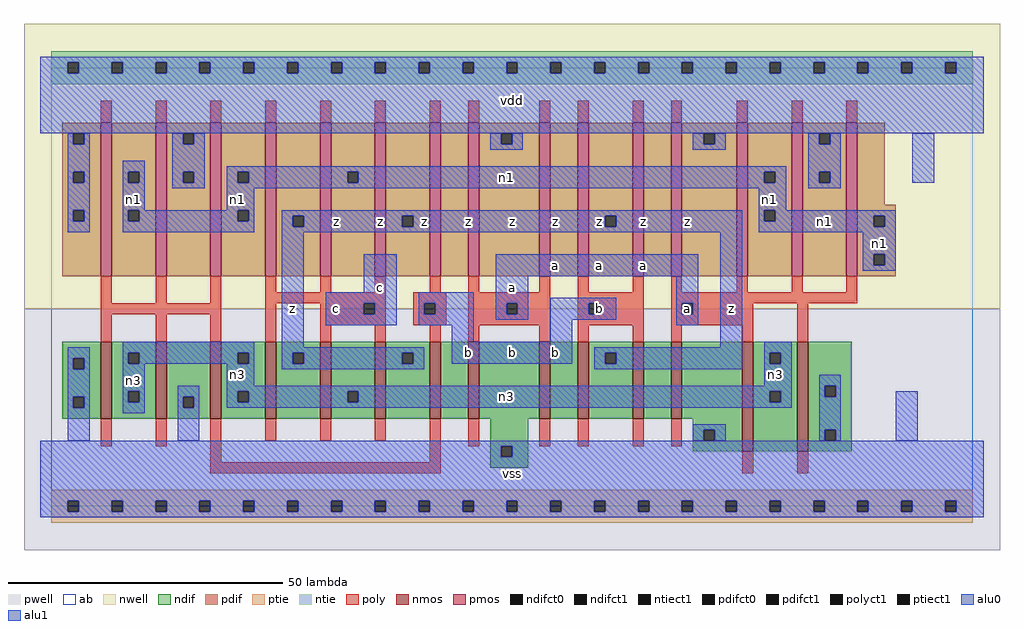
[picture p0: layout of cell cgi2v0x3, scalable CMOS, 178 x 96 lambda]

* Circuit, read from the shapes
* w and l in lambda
.subckt cgi2v0x3 a b c n1 n3 vdd vss z
M1 n3 b vss vss nfet w=14 l=2 m=3
M2 z c n3 vss nfet w=14 l=2 m=3
M3 n2 b z vss nfet w=14 l=2
M4 vss a n2 vss nfet w=14 l=2
M5 n4 a vss vss nfet w=14 l=2
M6 z b n4 vss nfet w=14 l=2
M7 n5 b z vss nfet w=14 l=2
M8 vss a n5 vss nfet w=14 l=2
M9 n3 a vss vss nfet w=20 l=2 m=2
M10 n1 b vdd vdd pfet w=28 l=2 m=3
M11 z c n1 vdd pfet w=28 l=2 m=3
M12 n6 b z vdd pfet w=28 l=2
M13 vdd a n6 vdd pfet w=28 l=2
M14 n7 a vdd vdd pfet w=28 l=2
M15 z b n7 vdd pfet w=28 l=2
M16 n8 b z vdd pfet w=28 l=2
M17 vdd a n8 vdd pfet w=28 l=2
M18 n1 a vdd vdd pfet w=28 l=2 m=3
.ends

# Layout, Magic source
magic
tech scmos
<< ab >>
rect 0 0 168 80
<< nwell >>
rect -5 36 173 88
<< pwell >>
rect -5 -8 173 36
<< poly >>
rect 9 70 11 74
rect 19 70 21 74
rect 29 70 31 74
rect 39 70 41 74
rect 49 70 51 74
rect 59 70 61 74
rect 69 70 71 74
rect 76 70 78 74
rect 89 70 91 74
rect 96 70 98 74
rect 106 70 108 74
rect 113 70 115 74
rect 125 70 127 74
rect 135 70 137 74
rect 145 70 147 74
rect 9 37 11 42
rect 19 37 21 42
rect 29 37 31 42
rect 9 35 31 37
rect 9 30 11 35
rect 19 30 21 35
rect 29 30 31 35
rect 39 39 41 42
rect 49 39 51 42
rect 59 39 61 42
rect 69 39 71 42
rect 76 39 78 42
rect 89 39 91 42
rect 39 37 61 39
rect 39 30 41 37
rect 49 35 57 37
rect 59 35 61 37
rect 49 33 61 35
rect 66 37 72 39
rect 66 35 68 37
rect 70 35 72 37
rect 66 33 72 35
rect 76 37 91 39
rect 76 35 83 37
rect 85 35 91 37
rect 76 33 91 35
rect 49 30 51 33
rect 59 30 61 33
rect 69 30 71 33
rect 76 30 78 33
rect 89 30 91 33
rect 96 39 98 42
rect 106 39 108 42
rect 96 37 108 39
rect 96 35 98 37
rect 100 35 108 37
rect 96 33 108 35
rect 96 30 98 33
rect 106 30 108 33
rect 113 39 115 42
rect 125 39 127 42
rect 135 39 137 42
rect 145 39 147 42
rect 113 37 147 39
rect 113 35 115 37
rect 117 35 128 37
rect 113 33 128 35
rect 113 30 115 33
rect 126 30 128 33
rect 136 30 138 37
rect 9 11 11 16
rect 19 11 21 16
rect 29 8 31 16
rect 39 12 41 16
rect 49 12 51 16
rect 59 12 61 16
rect 69 8 71 16
rect 76 11 78 16
rect 89 11 91 16
rect 96 11 98 16
rect 106 11 108 16
rect 113 11 115 16
rect 29 6 71 8
rect 126 6 128 10
rect 136 6 138 10
<< ndif >>
rect 2 27 9 30
rect 2 25 4 27
rect 6 25 9 27
rect 2 20 9 25
rect 2 18 4 20
rect 6 18 9 20
rect 2 16 9 18
rect 11 28 19 30
rect 11 26 14 28
rect 16 26 19 28
rect 11 21 19 26
rect 11 19 14 21
rect 16 19 19 21
rect 11 16 19 19
rect 21 20 29 30
rect 21 18 24 20
rect 26 18 29 20
rect 21 16 29 18
rect 31 28 39 30
rect 31 26 34 28
rect 36 26 39 28
rect 31 21 39 26
rect 31 19 34 21
rect 36 19 39 21
rect 31 16 39 19
rect 41 28 49 30
rect 41 26 44 28
rect 46 26 49 28
rect 41 16 49 26
rect 51 21 59 30
rect 51 19 54 21
rect 56 19 59 21
rect 51 16 59 19
rect 61 28 69 30
rect 61 26 64 28
rect 66 26 69 28
rect 61 16 69 26
rect 71 16 76 30
rect 78 16 89 30
rect 91 16 96 30
rect 98 28 106 30
rect 98 26 101 28
rect 103 26 106 28
rect 98 16 106 26
rect 108 16 113 30
rect 115 16 126 30
rect 80 11 87 16
rect 117 14 126 16
rect 117 12 119 14
rect 121 12 126 14
rect 80 9 82 11
rect 84 9 87 11
rect 117 10 126 12
rect 128 28 136 30
rect 128 26 131 28
rect 133 26 136 28
rect 128 21 136 26
rect 128 19 131 21
rect 133 19 136 21
rect 128 10 136 19
rect 138 22 146 30
rect 138 20 141 22
rect 143 20 146 22
rect 138 14 146 20
rect 138 12 141 14
rect 143 12 146 14
rect 138 10 146 12
rect 80 7 87 9
<< pdif >>
rect 2 68 9 70
rect 2 66 4 68
rect 6 66 9 68
rect 2 61 9 66
rect 2 59 4 61
rect 6 59 9 61
rect 2 54 9 59
rect 2 52 4 54
rect 6 52 9 54
rect 2 42 9 52
rect 11 61 19 70
rect 11 59 14 61
rect 16 59 19 61
rect 11 54 19 59
rect 11 52 14 54
rect 16 52 19 54
rect 11 42 19 52
rect 21 68 29 70
rect 21 66 24 68
rect 26 66 29 68
rect 21 61 29 66
rect 21 59 24 61
rect 26 59 29 61
rect 21 42 29 59
rect 31 61 39 70
rect 31 59 34 61
rect 36 59 39 61
rect 31 54 39 59
rect 31 52 34 54
rect 36 52 39 54
rect 31 42 39 52
rect 41 53 49 70
rect 41 51 44 53
rect 46 51 49 53
rect 41 42 49 51
rect 51 61 59 70
rect 51 59 54 61
rect 56 59 59 61
rect 51 42 59 59
rect 61 53 69 70
rect 61 51 64 53
rect 66 51 69 53
rect 61 42 69 51
rect 71 42 76 70
rect 78 68 89 70
rect 78 66 82 68
rect 84 66 89 68
rect 78 42 89 66
rect 91 42 96 70
rect 98 53 106 70
rect 98 51 101 53
rect 103 51 106 53
rect 98 42 106 51
rect 108 42 113 70
rect 115 68 125 70
rect 115 66 119 68
rect 121 66 125 68
rect 115 42 125 66
rect 127 61 135 70
rect 127 59 130 61
rect 132 59 135 61
rect 127 54 135 59
rect 127 52 130 54
rect 132 52 135 54
rect 127 42 135 52
rect 137 68 145 70
rect 137 66 140 68
rect 142 66 145 68
rect 137 61 145 66
rect 137 59 140 61
rect 142 59 145 61
rect 137 42 145 59
rect 147 55 152 70
rect 147 53 154 55
rect 147 51 150 53
rect 152 51 154 53
rect 147 46 154 51
rect 147 44 150 46
rect 152 44 154 46
rect 147 42 154 44
<< alu1 >>
rect -2 81 170 82
rect -2 79 3 81
rect 5 79 11 81
rect 13 79 19 81
rect 21 79 27 81
rect 29 79 35 81
rect 37 79 43 81
rect 45 79 51 81
rect 53 79 59 81
rect 61 79 67 81
rect 69 79 75 81
rect 77 79 83 81
rect 85 79 91 81
rect 93 79 99 81
rect 101 79 107 81
rect 109 79 115 81
rect 117 79 123 81
rect 125 79 131 81
rect 133 79 139 81
rect 141 79 147 81
rect 149 79 155 81
rect 157 79 163 81
rect 165 79 170 81
rect -2 68 170 79
rect 42 53 126 54
rect 42 51 44 53
rect 46 51 64 53
rect 66 51 101 53
rect 103 51 126 53
rect 42 50 126 51
rect 42 29 46 50
rect 57 39 63 46
rect 81 42 118 46
rect 50 37 63 39
rect 50 35 57 37
rect 59 35 63 37
rect 50 33 63 35
rect 67 37 77 39
rect 67 35 68 37
rect 70 35 77 37
rect 67 33 77 35
rect 81 37 87 42
rect 81 35 83 37
rect 85 35 87 37
rect 81 34 87 35
rect 91 37 103 38
rect 91 35 98 37
rect 100 35 103 37
rect 91 34 103 35
rect 114 37 118 42
rect 114 35 115 37
rect 117 35 118 37
rect 73 30 77 33
rect 91 30 95 34
rect 114 33 118 35
rect 42 28 68 29
rect 42 26 44 28
rect 46 26 64 28
rect 66 26 68 28
rect 73 26 95 30
rect 122 29 126 50
rect 99 28 126 29
rect 99 26 101 28
rect 103 26 126 28
rect 42 25 68 26
rect 99 25 126 26
rect -2 11 170 12
rect -2 9 82 11
rect 84 9 170 11
rect -2 1 170 9
rect -2 -1 3 1
rect 5 -1 11 1
rect 13 -1 19 1
rect 21 -1 27 1
rect 29 -1 35 1
rect 37 -1 43 1
rect 45 -1 51 1
rect 53 -1 59 1
rect 61 -1 67 1
rect 69 -1 75 1
rect 77 -1 83 1
rect 85 -1 91 1
rect 93 -1 99 1
rect 101 -1 107 1
rect 109 -1 115 1
rect 117 -1 123 1
rect 125 -1 131 1
rect 133 -1 139 1
rect 141 -1 147 1
rect 149 -1 155 1
rect 157 -1 163 1
rect 165 -1 170 1
rect -2 -2 170 -1
<< ptie >>
rect 0 1 168 3
rect 0 -1 3 1
rect 5 -1 11 1
rect 13 -1 19 1
rect 21 -1 27 1
rect 29 -1 35 1
rect 37 -1 43 1
rect 45 -1 51 1
rect 53 -1 59 1
rect 61 -1 67 1
rect 69 -1 75 1
rect 77 -1 83 1
rect 85 -1 91 1
rect 93 -1 99 1
rect 101 -1 107 1
rect 109 -1 115 1
rect 117 -1 123 1
rect 125 -1 131 1
rect 133 -1 139 1
rect 141 -1 147 1
rect 149 -1 155 1
rect 157 -1 163 1
rect 165 -1 168 1
rect 0 -3 168 -1
<< ntie >>
rect 0 81 168 83
rect 0 79 3 81
rect 5 79 11 81
rect 13 79 19 81
rect 21 79 27 81
rect 29 79 35 81
rect 37 79 43 81
rect 45 79 51 81
rect 53 79 59 81
rect 61 79 67 81
rect 69 79 75 81
rect 77 79 83 81
rect 85 79 91 81
rect 93 79 99 81
rect 101 79 107 81
rect 109 79 115 81
rect 117 79 123 81
rect 125 79 131 81
rect 133 79 139 81
rect 141 79 147 81
rect 149 79 155 81
rect 157 79 163 81
rect 165 79 168 81
rect 0 77 168 79
<< nmos >>
rect 9 16 11 30
rect 19 16 21 30
rect 29 16 31 30
rect 39 16 41 30
rect 49 16 51 30
rect 59 16 61 30
rect 69 16 71 30
rect 76 16 78 30
rect 89 16 91 30
rect 96 16 98 30
rect 106 16 108 30
rect 113 16 115 30
rect 126 10 128 30
rect 136 10 138 30
<< pmos >>
rect 9 42 11 70
rect 19 42 21 70
rect 29 42 31 70
rect 39 42 41 70
rect 49 42 51 70
rect 59 42 61 70
rect 69 42 71 70
rect 76 42 78 70
rect 89 42 91 70
rect 96 42 98 70
rect 106 42 108 70
rect 113 42 115 70
rect 125 42 127 70
rect 135 42 137 70
rect 145 42 147 70
<< polyct1 >>
rect 57 35 59 37
rect 68 35 70 37
rect 83 35 85 37
rect 98 35 100 37
rect 115 35 117 37
<< ndifct0 >>
rect 4 25 6 27
rect 4 18 6 20
rect 14 26 16 28
rect 14 19 16 21
rect 24 18 26 20
rect 34 26 36 28
rect 34 19 36 21
rect 54 19 56 21
rect 119 12 121 14
rect 131 26 133 28
rect 131 19 133 21
rect 141 20 143 22
rect 141 12 143 14
<< ndifct1 >>
rect 44 26 46 28
rect 64 26 66 28
rect 101 26 103 28
rect 82 9 84 11
<< ntiect1 >>
rect 3 79 5 81
rect 11 79 13 81
rect 19 79 21 81
rect 27 79 29 81
rect 35 79 37 81
rect 43 79 45 81
rect 51 79 53 81
rect 59 79 61 81
rect 67 79 69 81
rect 75 79 77 81
rect 83 79 85 81
rect 91 79 93 81
rect 99 79 101 81
rect 107 79 109 81
rect 115 79 117 81
rect 123 79 125 81
rect 131 79 133 81
rect 139 79 141 81
rect 147 79 149 81
rect 155 79 157 81
rect 163 79 165 81
<< ptiect1 >>
rect 3 -1 5 1
rect 11 -1 13 1
rect 19 -1 21 1
rect 27 -1 29 1
rect 35 -1 37 1
rect 43 -1 45 1
rect 51 -1 53 1
rect 59 -1 61 1
rect 67 -1 69 1
rect 75 -1 77 1
rect 83 -1 85 1
rect 91 -1 93 1
rect 99 -1 101 1
rect 107 -1 109 1
rect 115 -1 117 1
rect 123 -1 125 1
rect 131 -1 133 1
rect 139 -1 141 1
rect 147 -1 149 1
rect 155 -1 157 1
rect 163 -1 165 1
<< pdifct0 >>
rect 4 66 6 68
rect 4 59 6 61
rect 4 52 6 54
rect 14 59 16 61
rect 14 52 16 54
rect 24 66 26 68
rect 24 59 26 61
rect 34 59 36 61
rect 34 52 36 54
rect 54 59 56 61
rect 82 66 84 68
rect 119 66 121 68
rect 130 59 132 61
rect 130 52 132 54
rect 140 66 142 68
rect 140 59 142 61
rect 150 51 152 53
rect 150 44 152 46
<< pdifct1 >>
rect 44 51 46 53
rect 64 51 66 53
rect 101 51 103 53
<< alu0 >>
rect 3 66 4 68
rect 6 66 7 68
rect 3 61 7 66
rect 22 66 24 68
rect 26 66 28 68
rect 3 59 4 61
rect 6 59 7 61
rect 3 54 7 59
rect 3 52 4 54
rect 6 52 7 54
rect 3 50 7 52
rect 13 61 17 63
rect 13 59 14 61
rect 16 59 17 61
rect 13 54 17 59
rect 22 61 28 66
rect 80 66 82 68
rect 84 66 86 68
rect 80 65 86 66
rect 117 66 119 68
rect 121 66 123 68
rect 117 65 123 66
rect 138 66 140 68
rect 142 66 144 68
rect 22 59 24 61
rect 26 59 28 61
rect 22 58 28 59
rect 32 61 134 62
rect 32 59 34 61
rect 36 59 54 61
rect 56 59 130 61
rect 132 59 134 61
rect 32 58 134 59
rect 138 61 144 66
rect 138 59 140 61
rect 142 59 144 61
rect 157 59 161 68
rect 138 58 144 59
rect 32 54 37 58
rect 129 54 134 58
rect 13 52 14 54
rect 16 52 34 54
rect 36 52 37 54
rect 13 50 37 52
rect 129 52 130 54
rect 132 53 154 54
rect 132 52 150 53
rect 129 51 150 52
rect 152 51 154 53
rect 129 50 154 51
rect 3 27 7 29
rect 3 25 4 27
rect 6 25 7 27
rect 3 20 7 25
rect 3 18 4 20
rect 6 18 7 20
rect 3 12 7 18
rect 13 28 37 30
rect 13 26 14 28
rect 16 26 34 28
rect 36 26 37 28
rect 13 21 17 26
rect 32 22 37 26
rect 148 46 154 50
rect 148 44 150 46
rect 152 44 154 46
rect 148 43 154 44
rect 130 28 135 30
rect 130 26 131 28
rect 133 26 135 28
rect 130 22 135 26
rect 13 19 14 21
rect 16 19 17 21
rect 13 17 17 19
rect 23 20 27 22
rect 23 18 24 20
rect 26 18 27 20
rect 32 21 135 22
rect 32 19 34 21
rect 36 19 54 21
rect 56 19 131 21
rect 133 19 135 21
rect 32 18 135 19
rect 140 22 144 24
rect 140 20 141 22
rect 143 20 144 22
rect 23 12 27 18
rect 117 14 123 15
rect 117 12 119 14
rect 121 12 123 14
rect 140 14 144 20
rect 140 12 141 14
rect 143 12 144 14
rect 154 12 158 21
<< labels >>
rlabel alu0 15 23 15 23 6 n3
rlabel alu0 15 56 15 56 6 n1
rlabel alu0 34 24 34 24 6 n3
rlabel alu0 34 56 34 56 6 n1
rlabel alu0 132 24 132 24 6 n3
rlabel alu0 83 20 83 20 6 n3
rlabel alu0 151 48 151 48 6 n1
rlabel alu0 141 52 141 52 6 n1
rlabel alu0 131 56 131 56 6 n1
rlabel alu0 83 60 83 60 6 n1
rlabel alu1 52 36 52 36 6 c
rlabel alu1 60 40 60 40 6 c
rlabel alu1 44 36 44 36 6 z
rlabel alu1 52 52 52 52 6 z
rlabel alu1 60 52 60 52 6 z
rlabel alu1 84 6 84 6 6 vss
rlabel alu1 76 28 76 28 6 b
rlabel alu1 84 28 84 28 6 b
rlabel alu1 92 28 92 28 6 b
rlabel alu1 84 40 84 40 6 a
rlabel alu1 92 44 92 44 6 a
rlabel alu1 76 52 76 52 6 z
rlabel alu1 84 52 84 52 6 z
rlabel alu1 92 52 92 52 6 z
rlabel alu1 68 52 68 52 6 z
rlabel alu1 84 74 84 74 6 vdd
rlabel alu1 100 36 100 36 6 b
rlabel alu1 100 44 100 44 6 a
rlabel alu1 108 44 108 44 6 a
rlabel polyct1 116 36 116 36 6 a
rlabel alu1 124 36 124 36 6 z
rlabel alu1 108 52 108 52 6 z
rlabel alu1 116 52 116 52 6 z
rlabel alu1 100 52 100 52 6 z
<< end >>
